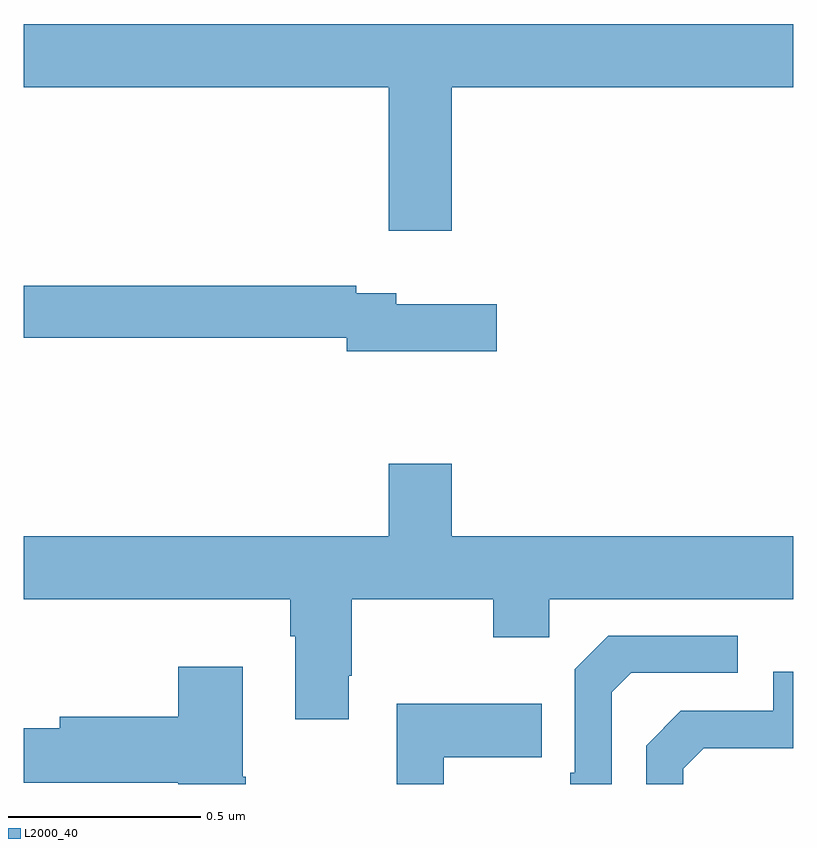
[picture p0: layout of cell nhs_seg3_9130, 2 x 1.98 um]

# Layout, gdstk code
import gdstk
lib = gdstk.Library(unit=1e-6, precision=1e-09)
def P(c, l, *ps):  # polygons
    for p in ps: c.add(gdstk.Polygon(p, *l))
L2000_40 = (2000, 40)

nhs_seg3_9130 = lib.new_cell('nhs_seg3_9130')
P(nhs_seg3_9130, L2000_40, [(225.112,738.212),(226,738.212),(226,738.376),(224,738.376),(224,738.212),(224.948,738.212),(224.948,737.838),(225.112,737.838)],
  [(225.229,737.647),(224.968,737.647),(224.968,737.676),(224.864,737.676),(224.864,737.696),(224,737.696),(224,737.56),(224.84,737.56),(224.84,737.525),(225.229,737.525)],
  [(224.845,736.681),(224.853,736.681),(224.853,736.88),(225.22,736.88),(225.22,736.781),(225.366,736.781),(225.366,736.88),(226,736.88),(226,737.044),(225.112,737.044),(225.112,737.233),(224.948,737.233),(224.948,737.044),(224,737.044),(224,736.88),(224.693,736.88),(224.693,736.784),(224.705,736.784),(224.705,736.569),(224.845,736.569)],
  [(225.528,736.638),(225.579,736.689),(225.856,736.689),(225.856,736.785),(225.519,736.785),(225.432,736.698),(225.432,736.429),(225.42,736.429),(225.42,736.4),(225.528,736.4)],
  [(224.577,736.419),(224.569,736.419),(224.569,736.705),(224.402,736.705),(224.402,736.575),(224.093,736.575),(224.093,736.545),(224,736.545),(224,736.403),(224.402,736.403),(224.402,736.4),(224.577,736.4)],
  [(225.714,736.44),(225.767,736.493),(226,736.493),(226,736.692),(225.948,736.692),(225.948,736.59),(225.708,736.59),(225.618,736.5),(225.618,736.4),(225.714,736.4)],
  [(225.091,736.469),(225.347,736.469),(225.347,736.609),(224.97,736.609),(224.97,736.4),(225.091,736.4)])

lib.write_gds('nhs_seg3_9130.gds')
